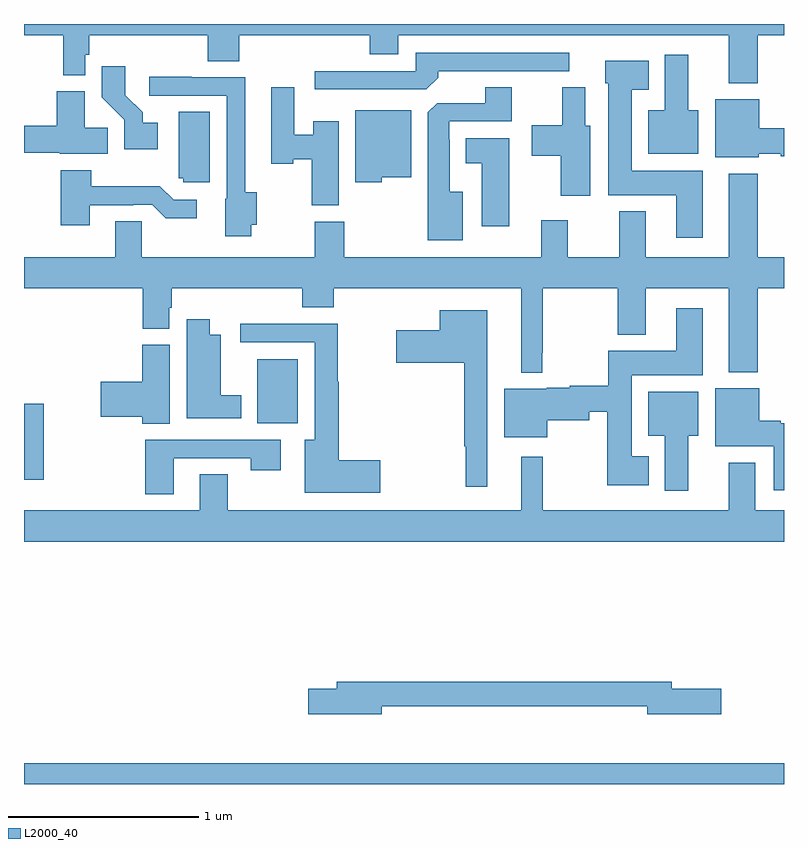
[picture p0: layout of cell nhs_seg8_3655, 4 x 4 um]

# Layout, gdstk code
import gdstk
lib = gdstk.Library(unit=1e-6, precision=1e-09)
def R(c, l, rs):  # rectangles x0, y0, x1, y1
    for r in rs: c.add(gdstk.rectangle(r[:2], r[2:], *l))
def P(c, l, *ps):  # polygons
    for p in ps: c.add(gdstk.Polygon(p, *l))
L2000_40 = (2000, 40)

nhs_seg8_3655 = lib.new_cell('nhs_seg8_3655')
R(nhs_seg8_3655, L2000_40, [(337,1105.9,341,1106.008), (337,1107.501,337.103,1107.902), (338.228,1107.8,338.44,1108.135)])
P(nhs_seg8_3655, L2000_40, [(340.862,1109.84),(341,1109.84),(341,1109.9),(337,1109.9),(337,1109.84),(337.207,1109.84),(337.207,1109.63),(337.323,1109.63),(337.323,1109.739),(337.343,1109.739),(337.343,1109.84),(337.967,1109.84),(337.967,1109.704),(338.132,1109.704),(338.132,1109.84),(338.819,1109.84),(338.819,1109.741),(338.971,1109.741),(338.971,1109.84),(340.709,1109.84),(340.709,1109.588),(340.862,1109.588)],
  [(339.179,1109.618),(339.179,1109.652),(339.871,1109.652),(339.871,1109.748),(339.063,1109.748),(339.063,1109.652),(338.529,1109.652),(338.529,1109.556),(339.117,1109.556)],
  [(340.549,1109.446),(340.495,1109.446),(340.495,1109.737),(340.373,1109.737),(340.373,1109.446),(340.286,1109.446),(340.286,1109.216),(340.549,1109.216)],
  [(340.573,1109.128),(340.198,1109.128),(340.198,1109.555),(340.288,1109.555),(340.288,1109.707),(340.058,1109.707),(340.058,1109.589),(340.076,1109.589),(340.076,1109),(340.433,1109),(340.433,1108.776),(340.573,1108.776)],
  [(337.705,1109.38),(337.624,1109.38),(337.624,1109.435),(337.534,1109.525),(337.534,1109.677),(337.408,1109.677),(337.408,1109.514),(337.527,1109.395),(337.527,1109.24),(337.705,1109.24)],
  [(338.196,1108.844),(338.226,1108.844),(338.226,1109.015),(338.164,1109.015),(338.164,1109.619),(337.883,1109.619),(337.883,1109.622),(337.659,1109.622),(337.659,1109.523),(338.067,1109.523),(338.067,1108.98),(338.06,1108.98),(338.06,1108.784),(338.196,1108.784)],
  [(339.31,1109.017),(339.241,1109.017),(339.241,1109.291),(339.237,1109.291),(339.237,1109.388),(339.568,1109.388),(339.568,1109.567),(339.428,1109.567),(339.428,1109.484),(339.174,1109.484),(339.125,1109.435),(339.125,1108.763),(339.31,1108.763)],
  [(338.656,1109.389),(338.522,1109.389),(338.522,1109.317),(338.422,1109.317),(338.422,1109.566),(338.3,1109.566),(338.3,1109.165),(338.418,1109.165),(338.418,1109.188),(338.515,1109.188),(338.515,1108.945),(338.656,1108.945)],
  [(339.979,1109.364),(339.955,1109.364),(339.955,1109.566),(339.833,1109.566),(339.833,1109.368),(339.672,1109.368),(339.672,1109.206),(339.824,1109.206),(339.824,1108.995),(339.979,1108.995)],
  [(337.442,1109.354),(337.321,1109.354),(337.321,1109.545),(337.172,1109.545),(337.172,1109.364),(337,1109.364),(337,1109.222),(337.188,1109.222),(337.188,1109.216),(337.442,1109.216)],
  [(340.866,1109.216),(340.983,1109.216),(340.983,1109.204),(341,1109.204),(341,1109.351),(340.87,1109.351),(340.87,1109.503),(340.637,1109.503),(340.637,1109.198),(340.866,1109.198)],
  [(338.883,1109.093),(339.037,1109.093),(339.037,1109.446),(338.744,1109.446),(338.744,1109.066),(338.883,1109.066)],
  [(337.978,1109.437),(337.814,1109.437),(337.814,1109.088),(337.839,1109.088),(337.839,1109.067),(337.978,1109.067)],
  [(339.553,1109.299),(339.326,1109.299),(339.326,1109.168),(339.41,1109.168),(339.41,1108.836),(339.553,1108.836)],
  [(337.345,1108.947),(337.574,1108.947),(337.574,1108.95),(337.674,1108.95),(337.747,1108.877),(337.909,1108.877),(337.909,1108.974),(337.788,1108.974),(337.715,1109.047),(337.353,1109.047),(337.353,1109.131),(337.193,1109.131),(337.193,1108.842),(337.345,1108.842)],
  [(340.126,1108.265),(340.273,1108.265),(340.273,1108.508),(340.709,1108.508),(340.709,1108.067),(340.862,1108.067),(340.862,1108.508),(341,1108.508),(341,1108.672),(340.862,1108.672),(340.862,1109.113),(340.709,1109.113),(340.709,1108.672),(340.273,1108.672),(340.273,1108.915),(340.133,1108.915),(340.133,1108.672),(339.862,1108.672),(339.862,1108.867),(339.722,1108.867),(339.722,1108.672),(338.685,1108.672),(338.685,1108.86),(338.53,1108.86),(338.53,1108.672),(337.62,1108.672),(337.62,1108.862),(337.481,1108.862),(337.481,1108.672),(337,1108.672),(337,1108.508),(337.625,1108.508),(337.625,1108.297),(337.765,1108.297),(337.765,1108.407),(337.778,1108.407),(337.778,1108.508),(338.465,1108.508),(338.465,1108.409),(338.63,1108.409),(338.63,1108.508),(339.617,1108.508),(339.617,1108.064),(339.727,1108.064),(339.727,1108.171),(339.731,1108.171),(339.731,1108.508),(340.126,1108.508)],
  [(340.288,1107.625),(340.198,1107.625),(340.198,1108.052),(340.573,1108.052),(340.573,1108.405),(340.433,1108.405),(340.433,1108.18),(340.076,1108.18),(340.076,1107.997),(339.872,1107.997),(339.872,1107.986),(339.75,1107.986),(339.75,1107.979),(339.527,1107.979),(339.527,1107.725),(339.754,1107.725),(339.754,1107.814),(339.976,1107.814),(339.976,1107.86),(340.069,1107.86),(340.069,1107.473),(340.288,1107.473)],
  [(339.439,1108.393),(339.188,1108.393),(339.188,1108.288),(338.958,1108.288),(338.958,1108.118),(339.318,1108.118),(339.318,1107.677),(339.325,1107.677),(339.325,1107.465),(339.439,1107.465)],
  [(338.143,1107.946),(338.035,1107.946),(338.035,1108.264),(337.978,1108.264),(337.978,1108.345),(337.856,1108.345),(337.856,1107.824),(338.143,1107.824)],
  [(338.875,1107.605),(338.657,1107.605),(338.657,1108.017),(338.652,1108.017),(338.652,1108.322),(338.139,1108.322),(338.139,1108.224),(338.531,1108.224),(338.531,1107.712),(338.477,1107.712),(338.477,1107.434),(338.875,1107.434)],
  [(337.768,1108.212),(337.622,1108.212),(337.622,1108.016),(337.404,1108.016),(337.404,1107.833),(337.622,1107.833),(337.622,1107.796),(337.768,1107.796)],
  [(341,1107.799),(340.983,1107.799),(340.983,1107.812),(340.87,1107.812),(340.87,1107.982),(340.637,1107.982),(340.637,1107.677),(340.946,1107.677),(340.946,1107.447),(341,1107.447)],
  [(340.495,1107.734),(340.549,1107.734),(340.549,1107.964),(340.286,1107.964),(340.286,1107.734),(340.373,1107.734),(340.373,1107.444),(340.495,1107.444)],
  [(337.789,1107.615),(338.194,1107.615),(338.194,1107.552),(338.35,1107.552),(338.35,1107.711),(337.637,1107.711),(337.637,1107.426),(337.789,1107.426)],
  [(341,1107.34),(340.849,1107.34),(340.849,1107.592),(340.709,1107.592),(340.709,1107.34),(339.731,1107.34),(339.731,1107.622),(339.617,1107.622),(339.617,1107.34),(338.073,1107.34),(338.073,1107.53),(337.925,1107.53),(337.925,1107.34),(337,1107.34),(337,1107.176),(341,1107.176)],
  [(338.884,1106.31),(340.28,1106.31),(340.28,1106.267),(340.669,1106.267),(340.669,1106.402),(340.408,1106.402),(340.408,1106.438),(338.645,1106.438),(338.645,1106.402),(338.496,1106.402),(338.496,1106.267),(338.884,1106.267)])

lib.write_gds('nhs_seg8_3655.gds')
